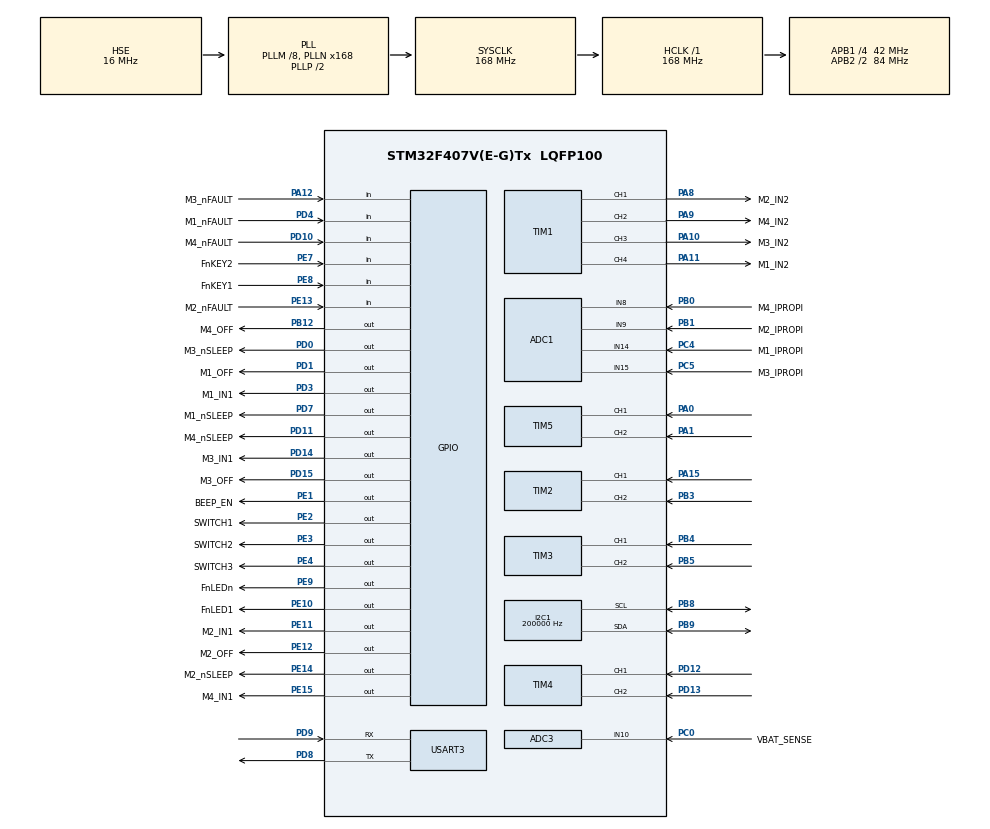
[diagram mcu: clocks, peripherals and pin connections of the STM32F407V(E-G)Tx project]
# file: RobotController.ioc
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ADC1.Channel-0\#ChannelRegularConversion=ADC_CHANNEL_14
ADC1.Channel-1\#ChannelRegularConversion=ADC_CHANNEL_9
ADC1.Channel-2\#ChannelRegularConversion=ADC_CHANNEL_15
ADC1.Channel-3\#ChannelRegularConversion=ADC_CHANNEL_8
ADC1.DiscontinuousConvMode=ENABLE
ADC1.EOCSelection=ADC_EOC_SINGLE_CONV
ADC1.NbrOfConversion=4
ADC1.NbrOfConversionFlag=1
ADC1.Rank-0\#ChannelRegularConversion=1
ADC1.Rank-1\#ChannelRegularConversion=2
ADC1.Rank-2\#ChannelRegularConversion=3
ADC1.Rank-3\#ChannelRegularConversion=4
ADC1.SamplingTime-0\#ChannelRegularConversion=ADC_SAMPLETIME_3CYCLES
ADC1.SamplingTime-1\#ChannelRegularConversion=ADC_SAMPLETIME_3CYCLES
ADC1.SamplingTime-2\#ChannelRegularConversion=ADC_SAMPLETIME_3CYCLES
ADC1.SamplingTime-3\#ChannelRegularConversion=ADC_SAMPLETIME_3CYCLES
ADC1.master=1
ADC3.Channel-0\#ChannelRegularConversion=ADC_CHANNEL_10
ADC3.NbrOfConversionFlag=1
ADC3.Rank-0\#ChannelRegularConversion=1
ADC3.SamplingTime-0\#ChannelRegularConversion=ADC_SAMPLETIME_3CYCLES
I2C1.ClockSpeed=200000
I2C1.I2C_Mode=I2C_Fast
I2C1.NoStretchMode=I2C_NOSTRETCH_DISABLE
I2C1.OwnAddress=0x18
Mcu.Family=STM32F4
Mcu.Name=STM32F407V(E-G)Tx
Mcu.Package=LQFP100
Mcu.UserConstants=TIM_MOTOR_PWM_DUTY_LIMIT,MOTOR_PWM_DUTY_LIMIT;TIM_MOTOR_TIM_ENCOER_ARR,MOTOR_TIM_ENCODER_ARR;TIM_SERVO_PWM_DUTY_LIMIT,SERVO_PWM_DUTY_LIMIT
NVIC.PriorityGroup=NVIC_PRIORITYGROUP_3
NVIC.TIM2_IRQn=true\:3\:0\:true\:false\:true\:true\:true\:true
NVIC.TIM3_IRQn=true\:3\:0\:true\:false\:true\:true\:true\:true
NVIC.TIM4_IRQn=true\:3\:0\:true\:false\:true\:true\:true\:true
NVIC.TIM5_IRQn=true\:3\:0\:true\:false\:true\:true\:true\:true
NVIC.TIM6_DAC_IRQn=true\:5\:0\:true\:false\:true\:true\:true\:true
NVIC.TIM7_IRQn=true\:6\:1\:true\:false\:true\:true\:true\:true
NVIC.USART3_IRQn=true\:1\:0\:true\:false\:true\:true\:true\:true
PA0-WKUP.GPIO_ModeDefaultPP=GPIO_MODE_AF_PP
PA0-WKUP.GPIO_PuPd=GPIO_PULLUP
PA0-WKUP.GPIO_Speed=GPIO_SPEED_FREQ_LOW
PA0-WKUP.Signal=S_TIM5_CH1
PA1.GPIO_ModeDefaultPP=GPIO_MODE_AF_PP
PA1.GPIO_PuPd=GPIO_PULLUP
PA1.GPIO_Speed=GPIO_SPEED_FREQ_LOW
PA1.Signal=S_TIM5_CH2
PA10.GPIO_Label=M3_IN2
PA10.Signal=S_TIM1_CH3
PA11.GPIO_Label=M1_IN2
PA11.Signal=S_TIM1_CH4
PA12.GPIO_Label=M3_nFAULT
PA12.Signal=GPIO_Input
PA13.Mode=Serial_Wire
PA13.Signal=SYS_JTMS-SWDIO
PA14.Mode=Serial_Wire
PA14.Signal=SYS_JTCK-SWCLK
PA15.GPIO_PuPd=GPIO_PULLUP
PA15.Signal=S_TIM2_CH1_ETR
PA8.GPIO_Label=M2_IN2
PA8.Signal=S_TIM1_CH1
PA9.GPIO_Label=M4_IN2
PA9.Signal=S_TIM1_CH2
PB0.GPIO_Label=M4_IPROPI
PB0.Signal=ADCx_IN8
PB1.GPIO_Label=M2_IPROPI
PB1.Signal=ADCx_IN9
PB12.GPIO_Label=M4_OFF
PB12.Signal=GPIO_Output
PB3.GPIO_PuPd=GPIO_PULLUP
PB3.Signal=S_TIM2_CH2
PB4.GPIO_PuPd=GPIO_PULLUP
PB4.Signal=S_TIM3_CH1
PB5.GPIO_PuPd=GPIO_PULLUP
PB5.Signal=S_TIM3_CH2
PB8.Mode=I2C
PB8.Signal=I2C1_SCL
PB9.Mode=I2C
PB9.Signal=I2C1_SDA
PC0.GPIO_Label=VBAT_SENSE
PC0.Signal=ADCx_IN10
PC14-OSC32_IN.Mode=LSE-External-Oscillator
PC14-OSC32_IN.Signal=RCC_OSC32_IN
PC15-OSC32_OUT.Mode=LSE-External-Oscillator
PC15-OSC32_OUT.Signal=RCC_OSC32_OUT
PC4.GPIO_Label=M1_IPROPI
PC4.Signal=ADCx_IN14
PC5.GPIO_Label=M3_IPROPI
PC5.Signal=ADCx_IN15
PD0.GPIO_Label=M3_nSLEEP
PD0.Signal=GPIO_Output
PD1.GPIO_Label=M1_OFF
PD1.Signal=GPIO_Output
PD10.GPIO_Label=M4_nFAULT
PD10.Signal=GPIO_Input
PD11.GPIO_Label=M4_nSLEEP
PD11.Signal=GPIO_Output
PD12.GPIO_PuPd=GPIO_PULLUP
PD12.Signal=S_TIM4_CH1
PD13.GPIO_PuPd=GPIO_PULLUP
PD13.Signal=S_TIM4_CH2
PD14.GPIO_Label=M3_IN1
PD14.Signal=GPIO_Output
PD15.GPIO_Label=M3_OFF
PD15.Signal=GPIO_Output
PD3.GPIO_Label=M1_IN1
PD3.Signal=GPIO_Output
PD4.GPIO_Label=M1_nFAULT
PD4.Signal=GPIO_Input
PD7.GPIO_Label=M1_nSLEEP
PD7.Signal=GPIO_Output
PD8.Mode=Asynchronous
PD8.Signal=USART3_TX
PD9.Mode=Asynchronous
PD9.Signal=USART3_RX
PE1.GPIO_Label=BEEP_EN
PE1.GPIO_ModeDefaultOutputPP=GPIO_MODE_OUTPUT_PP
PE1.Signal=GPIO_Output
PE10.GPIO_Label=FnLED1
PE10.GPIO_ModeDefaultOutputPP=GPIO_MODE_OUTPUT_OD
PE10.GPIO_Speed=GPIO_SPEED_FREQ_LOW
PE10.PinState=GPIO_PIN_SET
PE10.Signal=GPIO_Output
PE11.GPIO_Label=M2_IN1
PE11.Signal=GPIO_Output
PE12.GPIO_Label=M2_OFF
PE12.Signal=GPIO_Output
PE13.GPIO_Label=M2_nFAULT
PE13.Signal=GPIO_Input
PE14.GPIO_Label=M2_nSLEEP
PE14.Signal=GPIO_Output
PE15.GPIO_Label=M4_IN1
PE15.Signal=GPIO_Output
PE2.GPIO_Label=SWITCH1
PE2.Signal=GPIO_Output
PE3.GPIO_Label=SWITCH2
PE3.Signal=GPIO_Output
PE4.GPIO_Label=SWITCH3
PE4.Signal=GPIO_Output
PE7.GPIO_Label=FnKEY2
PE7.GPIO_PuPd=GPIO_PULLUP
PE7.Signal=GPIO_Input
PE8.GPIO_Label=FnKEY1
PE8.GPIO_PuPd=GPIO_PULLUP
PE8.Signal=GPIO_Input
PE9.GPIO_Label=FnLEDn
PE9.GPIO_ModeDefaultOutputPP=GPIO_MODE_OUTPUT_PP
PE9.GPIO_PuPd=GPIO_NOPULL
PE9.PinState=GPIO_PIN_RESET
PE9.Signal=GPIO_Output
PH0-OSC_IN.Mode=HSE-External-Oscillator
PH0-OSC_IN.Signal=RCC_OSC_IN
PH1-OSC_OUT.Mode=HSE-External-Oscillator
PH1-OSC_OUT.Signal=RCC_OSC_OUT
ProjectManager.HeapSize=0x200
ProjectManager.StackSize=0x400
ProjectManager.TargetToolchain=MDK-ARM V5.32
RCC.48MHZClocksFreq_Value=84000000
RCC.AHBFreq_Value=168000000
RCC.APB1CLKDivider=RCC_HCLK_DIV4
RCC.APB1Freq_Value=42000000
RCC.APB1TimFreq_Value=84000000
RCC.APB2CLKDivider=RCC_HCLK_DIV2
RCC.APB2Freq_Value=84000000
RCC.APB2TimFreq_Value=168000000
RCC.CodegenConfigPeriph=true
RCC.CortexFreq_Value=168000000
RCC.HCLKFreq_Value=168000000
RCC.HSE_VALUE=16000000
RCC.HSI_VALUE=16000000
RCC.PLLM=8
RCC.PLLN=168
RCC.PLLSourceVirtual=RCC_PLLSOURCE_HSE
RCC.SYSCLKFreq_VALUE=168000000
RCC.SYSCLKSource=RCC_SYSCLKSOURCE_PLLCLK
RCC.VCOOutputFreq_Value=336000000
SH.ADCx_IN10.0=ADC3_IN10,IN10
SH.ADCx_IN14.0=ADC1_IN14,IN14
SH.ADCx_IN15.0=ADC1_IN15,IN15
SH.ADCx_IN8.0=ADC1_IN8,IN8
SH.ADCx_IN9.0=ADC1_IN9,IN9
SH.S_TIM1_CH1.0=TIM1_CH1,PWM Generation1 CH1
SH.S_TIM1_CH2.0=TIM1_CH2,PWM Generation2 CH2
SH.S_TIM1_CH3.0=TIM1_CH3,PWM Generation3 CH3
SH.S_TIM1_CH4.0=TIM1_CH4,PWM Generation4 CH4
SH.S_TIM2_CH1_ETR.0=TIM2_CH1,Encoder_Interface
SH.S_TIM2_CH2.0=TIM2_CH2,Encoder_Interface
SH.S_TIM3_CH1.0=TIM3_CH1,Encoder_Interface
SH.S_TIM3_CH2.0=TIM3_CH2,Encoder_Interface
SH.S_TIM4_CH1.0=TIM4_CH1,Encoder_Interface
SH.S_TIM4_CH2.0=TIM4_CH2,Encoder_Interface
SH.S_TIM5_CH1.0=TIM5_CH1,Encoder_Interface
SH.S_TIM5_CH2.0=TIM5_CH2,Encoder_Interface
TIM1.Channel-PWM\ Generation1\ CH1=TIM_CHANNEL_1
TIM1.Channel-PWM\ Generation2\ CH2=TIM_CHANNEL_2
TIM1.Channel-PWM\ Generation3\ CH3=TIM_CHANNEL_3
TIM1.Channel-PWM\ Generation4\ CH4=TIM_CHANNEL_4
TIM1.Period=TIM_MOTOR_PWM_DUTY_LIMIT-1
TIM12.AutoReloadPreload=TIM_AUTORELOAD_PRELOAD_ENABLE
TIM12.Channel-PWM\ Generation1\ CH1=TIM_CHANNEL_1
TIM12.Channel-PWM\ Generation2\ CH2=TIM_CHANNEL_2
TIM12.Period=TIM_SERVO_PWM_DUTY_LIMIT-1
TIM12.Prescaler=168-1
TIM13.AutoReloadPreload=TIM_AUTORELOAD_PRELOAD_ENABLE
TIM13.Channel=TIM_CHANNEL_1
TIM13.Period=TIM_SERVO_PWM_DUTY_LIMIT-1
TIM13.Prescaler=168-1
TIM14.AutoReloadPreload=TIM_AUTORELOAD_PRELOAD_ENABLE
TIM14.Channel=TIM_CHANNEL_1
TIM14.Period=TIM_SERVO_PWM_DUTY_LIMIT-1
TIM14.Prescaler=168-1
TIM2.AutoReloadPreload=TIM_AUTORELOAD_PRELOAD_ENABLE
TIM2.EncoderMode=TIM_ENCODERMODE_TI12
TIM2.Period=TIM_MOTOR_TIM_ENCOER_ARR-1
TIM3.AutoReloadPreload=TIM_AUTORELOAD_PRELOAD_ENABLE
TIM3.EncoderMode=TIM_ENCODERMODE_TI12
TIM3.Period=TIM_MOTOR_TIM_ENCOER_ARR-1
TIM4.AutoReloadPreload=TIM_AUTORELOAD_PRELOAD_ENABLE
TIM4.EncoderMode=TIM_ENCODERMODE_TI12
TIM4.Period=TIM_MOTOR_TIM_ENCOER_ARR-1
TIM5.AutoReloadPreload=TIM_AUTORELOAD_PRELOAD_ENABLE
TIM5.EncoderMode=TIM_ENCODERMODE_TI12
TIM5.Period=TIM_MOTOR_TIM_ENCOER_ARR-1
TIM6.AutoReloadPreload=TIM_AUTORELOAD_PRELOAD_ENABLE
TIM6.Period=99
TIM6.Prescaler=8399
TIM7.AutoReloadPreload=TIM_AUTORELOAD_PRELOAD_ENABLE
TIM7.Period=199
TIM7.Prescaler=8399
TIM8.AutoReloadPreload=TIM_AUTORELOAD_PRELOAD_ENABLE
TIM8.Channel-PWM\ Generation3\ CH3=TIM_CHANNEL_3
TIM8.Channel-PWM\ Generation4\ CH4=TIM_CHANNEL_4
TIM8.Period=TIM_SERVO_PWM_DUTY_LIMIT-1
TIM8.Prescaler=336-1
TIM9.AutoReloadPreload=TIM_AUTORELOAD_PRELOAD_ENABLE
TIM9.Channel-PWM\ Generation1\ CH1=TIM_CHANNEL_1
TIM9.Channel-PWM\ Generation2\ CH2=TIM_CHANNEL_2
TIM9.Period=TIM_SERVO_PWM_DUTY_LIMIT-1
TIM9.Prescaler=336  - 1
USART3.VirtualMode=VM_ASYNC
VP_TIM1_VS_ClockSourceINT.Mode=Internal
VP_TIM6_VS_ClockSourceINT.Mode=Enable_Timer
VP_TIM7_VS_ClockSourceINT.Mode=Enable_Timer
board=custom

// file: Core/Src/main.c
/* USER CODE BEGIN Header */
/**
 ******************************************************************************
 * @file           : main.c
 * @brief          : Main program body
 ******************************************************************************
 * @attention
 *
 * <h2><center>&copy; Copyright (c) 2023 STMicroelectronics.
 * All rights reserved.</center></h2>
 *
 * This software component is licensed by ST under BSD 3-Clause license,
 * the "License"; You may not use this file except in compliance with the
 * License. You may obtain a copy of the License at:
 *                        opensource.org/licenses/BSD-3-Clause
 *
 ******************************************************************************
 */
/* USER CODE END Header */
#include "main.h"
#include "adc.h"
#include "i2c.h"
#include "tim.h"
#include "usart.h"
#include "gpio.h"

/* USER CODE BEGIN Includes */
#include "motor_driver.h"
#include "motor_controller.h"
#include "led.h"
#include "keys.h"
#include "mpu6500dmp.h"
/* USER CODE END Includes */

/* USER CODE BEGIN PV */

//===============编码器测试变量===============
volatile int32_t enc1, enc2, enc3, enc4;
volatile int32_t test_index;
//====================电机故障、电流测试==============

uint32_t motor_currents[4];

/* USER CODE END PV */

void SystemClock_Config(void);

int main(void)
{

  /* MCU Configuration--------------------------------------------------------*/

  /* Reset of all peripherals, Initializes the Flash interface and the Systick. */
  HAL_Init();

  /* Configure the system clock */
  SystemClock_Config();

  /* Initialize all configured peripherals */
  MX_GPIO_Init();
  MX_ADC1_Init();
  MX_TIM1_Init();
  MX_TIM2_Init();
  MX_TIM3_Init();
  MX_TIM4_Init();
  MX_TIM5_Init();
  MX_TIM6_Init();
  MX_USART3_UART_Init();
  MX_TIM7_Init();
  MX_ADC3_Init();
  MX_I2C1_Init();
  /* USER CODE BEGIN 2 */

  MPU6500_DMP_Init(); // MPU6500初始化
  /* USER CODE END 2 */

  /* Infinite loop */
  /* USER CODE BEGIN WHILE */

  //===================电机测试===============
  MotorDriver_Init();
  MotorDriver_Start(4, MOTOR_PWM_DUTY_LIMIT / 2);
  MotorDriver_Start(3, MOTOR_PWM_DUTY_LIMIT / 2);
  MotorDriver_Start(2, MOTOR_PWM_DUTY_LIMIT / 2);
  MotorDriver_Start(1, MOTOR_PWM_DUTY_LIMIT / 2);

  Encoder_Init();
  //==================电机转速控制器启动===============
  MotorController_Init();                // 初始化调速器
  MotorController_Enable(ENABLE);

  MotorController_SetSpeed(4, 500);
  MotorController_SetSpeed(3, -300);
  MotorController_SetSpeed(2, 400);
  MotorController_SetSpeed(1, -400);

  //===================Usart3通信测试===============
  // HAL_UART_Receive_IT(&huart3, (uint8_t *)&aRxBuffer, 1);

  //=================led测试=================
  FnLED_SetRGB(FnLED2, 33, 0, 0, 1);
  uint8_t led_val = 0;
  HAL_Delay(500);
  FnLED_OFF(FnLED2);
  while (1)
  {
    /* USER CODE END WHILE */

    /* USER CODE BEGIN 3 */
    //===============LED测试程序=============
    FnLED_SetRGB(FnLED3, 0, led_val, 0, 1);
    led_val += 1;
    if (led_val > 66)
      led_val = 0;
    HAL_Delay(7);

    //==============编码器测试程序================
    enc1 = Encoder_GetEncCount(1);
    enc2 = Encoder_GetEncCount(2);
    enc3 = Encoder_GetEncCount(3);
    enc4 = Encoder_GetEncCount(4);

    //=================usart======================
    uint8_t data[] = "hello world\r\n";
    // HAL_UART_Transmit(&huart3,data,sizeof(data),10);
    // printf("hello\r\n");

    //====================电机故障、电流测试==============
    MotorDriver_GetCurrent(motor_currents);
    MotorDriver_GetLoadErrorState(1);
    //			MotorDriver_GetLoadErrorState(2);
    //			MotorDriver_GetLoadErrorState(3);
    //			MotorDriver_GetLoadErrorState(4);

    //===================MPU6500测试===============
    /* 第 10s 校准MPU6500 为零 */
    /* 读取mpu6500数据，俯仰角数据在函数内部可以看 */
    Get_MPU6500_DMP_Data();

    //==================程控开关部分测试===========
    		if(Key_Pressed(1)==1)
    		HAL_GPIO_TogglePin(SWITCH1_GPIO_Port,SWITCH1_Pin);
    //		HAL_GPIO_TogglePin(SWITCH2_GPIO_Port,SWITCH2_Pin);
    //		HAL_GPIO_TogglePin(SWITCH3_GPIO_Port,SWITCH3_Pin);
  }
  /* USER CODE END 3 */
}

void SystemClock_Config(void)
{
  RCC_OscInitTypeDef RCC_OscInitStruct = {0};
  RCC_ClkInitTypeDef RCC_ClkInitStruct = {0};

  /** Configure the main internal regulator output voltage
   */
  __HAL_RCC_PWR_CLK_ENABLE();
  __HAL_PWR_VOLTAGESCALING_CONFIG(PWR_REGULATOR_VOLTAGE_SCALE1);

  /** Initializes the RCC Oscillators according to the specified parameters
   * in the RCC_OscInitTypeDef structure.
   */
  RCC_OscInitStruct.OscillatorType = RCC_OSCILLATORTYPE_HSE;
  RCC_OscInitStruct.HSEState = RCC_HSE_ON;
  RCC_OscInitStruct.PLL.PLLState = RCC_PLL_ON;
  RCC_OscInitStruct.PLL.PLLSource = RCC_PLLSOURCE_HSE;
  RCC_OscInitStruct.PLL.PLLM = 8;
  RCC_OscInitStruct.PLL.PLLN = 168;
  RCC_OscInitStruct.PLL.PLLP = RCC_PLLP_DIV2;
  RCC_OscInitStruct.PLL.PLLQ = 4;
  if (HAL_RCC_OscConfig(&RCC_OscInitStruct) != HAL_OK)
  {
    Error_Handler();
  }

  /** Initializes the CPU, AHB and APB buses clocks
  */
  RCC_ClkInitStruct.ClockType = RCC_CLOCKTYPE_HCLK|RCC_CLOCKTYPE_SYSCLK
                              |RCC_CLOCKTYPE_PCLK1|RCC_CLOCKTYPE_PCLK2;
  RCC_ClkInitStruct.SYSCLKSource = RCC_SYSCLKSOURCE_PLLCLK;
  RCC_ClkInitStruct.AHBCLKDivider = RCC_SYSCLK_DIV1;
  RCC_ClkInitStruct.APB1CLKDivider = RCC_HCLK_DIV4;
  RCC_ClkInitStruct.APB2CLKDivider = RCC_HCLK_DIV2;

  if (HAL_RCC_ClockConfig(&RCC_ClkInitStruct, FLASH_LATENCY_5) != HAL_OK)
  {
    Error_Handler();
  }
}

void Error_Handler(void)
{
  __disable_irq();
  while (1)
  {
  }
}
